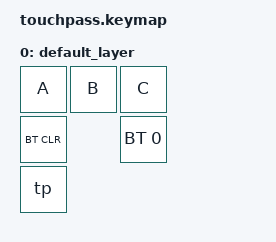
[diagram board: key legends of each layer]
#include <behaviors.dtsi>
#include <dt-bindings/zmk/keys.h>
#include <dt-bindings/zmk/bt.h>

/ {
    keymap {
        compatible = "zmk,keymap";

        default_layer {
            bindings = <
                &kp A &kp B &kp C 
                &bt BT_CLR &bt BT_SEL 0
                &tp
            >;
        };
    };
};
